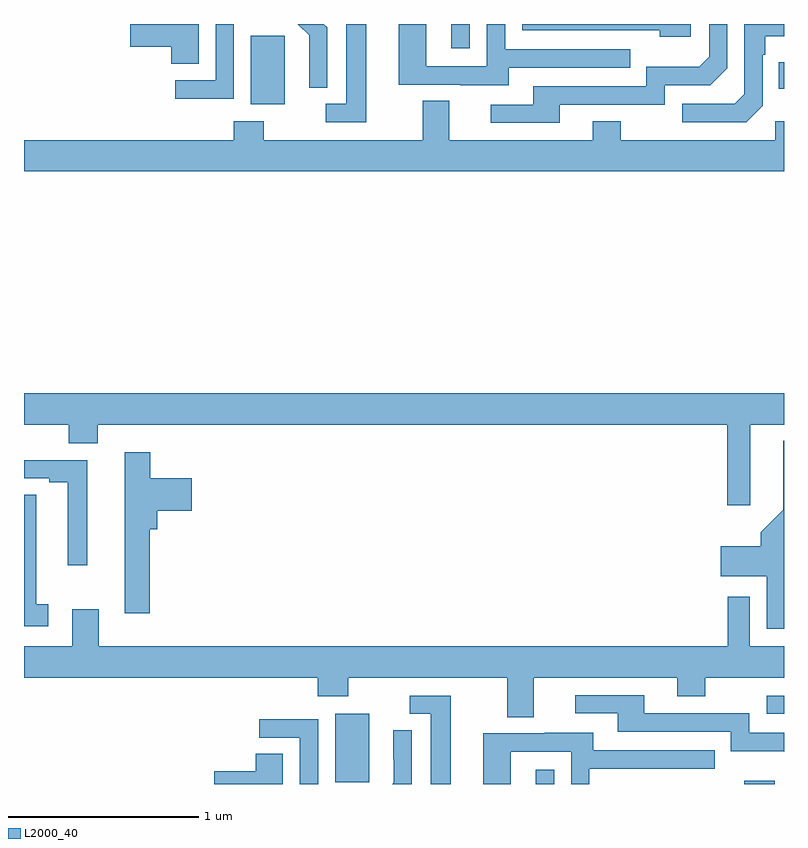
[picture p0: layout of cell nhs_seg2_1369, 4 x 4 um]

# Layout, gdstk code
import gdstk
lib = gdstk.Library(unit=1e-6, precision=1e-09)
def R(c, l, rs):  # rectangles x0, y0, x1, y1
    for r in rs: c.add(gdstk.rectangle(r[:2], r[2:], *l))
def P(c, l, *ps):  # polygons
    for p in ps: c.add(gdstk.Polygon(p, *l))
L2000_40 = (2000, 40)

nhs_seg2_1369 = lib.new_cell('nhs_seg2_1369')
R(nhs_seg2_1369, L2000_40, [(185.693,589.8,185.79,589.876), (186.791,589.8,186.952,589.816), (184.637,589.809,184.816,590.17), (186.909,590.169,187,590.265), (184.193,593.378,184.372,593.739), (186.973,593.459,187,593.599), (185.249,593.673,185.346,593.8)])
P(nhs_seg2_1369, L2000_40, [(183.919,593.8),(183.558,593.8),(183.558,593.681),(183.776,593.681),(183.776,593.59),(183.919,593.59)],
  [(185.551,593.571),(186.191,593.571),(186.191,593.667),(185.532,593.667),(185.532,593.8),(185.436,593.8),(185.436,593.577),(185.118,593.577),(185.118,593.8),(184.973,593.8),(184.973,593.481),(185.297,593.481),(185.297,593.477),(185.551,593.477)],
  [(184.104,593.8),(184.008,593.8),(184.008,593.505),(183.795,593.505),(183.795,593.407),(184.104,593.407)],
  [(184.596,593.782),(184.578,593.8),(184.442,593.8),(184.502,593.741),(184.502,593.618),(184.5,593.618),(184.5,593.464),(184.596,593.464)],
  [(186.508,593.8),(185.622,593.8),(185.622,593.766),(186.347,593.766),(186.347,593.732),(186.508,593.732)],
  [(185.821,593.376),(186.372,593.376),(186.372,593.478),(186.612,593.478),(186.702,593.568),(186.702,593.8),(186.606,593.8),(186.606,593.628),(186.553,593.575),(186.276,593.575),(186.276,593.472),(185.681,593.472),(185.681,593.376),(185.457,593.376),(185.457,593.28),(185.821,593.28)],
  [(186.888,593.37),(186.888,593.639),(186.901,593.639),(186.901,593.735),(187,593.735),(187,593.8),(186.792,593.8),(186.792,593.43),(186.741,593.379),(186.465,593.379),(186.465,593.283),(186.801,593.283)],
  [(184.801,593.8),(184.697,593.8),(184.697,593.379),(184.587,593.379),(184.587,593.283),(184.801,593.283)],
  [(187,593.287),(186.954,593.287),(186.954,593.188),(186.141,593.188),(186.141,593.287),(185.993,593.287),(185.993,593.188),(185.239,593.188),(185.239,593.396),(185.099,593.396),(185.099,593.188),(184.263,593.188),(184.263,593.287),(184.103,593.287),(184.103,593.188),(183,593.188),(183,593.024),(187,593.024)],
  [(186.823,591.692),(187,591.692),(187,591.856),(183,591.856),(183,591.692),(183.236,591.692),(183.236,591.593),(183.389,591.593),(183.389,591.692),(186.701,591.692),(186.701,591.267),(186.823,591.267)],
  [(187,591.607),(186.995,591.607),(186.995,591.346),(186.996,591.346),(186.996,591.244),(186.878,591.126),(186.878,591.052),(186.666,591.052),(186.666,590.894),(186.908,590.894),(186.908,590.618),(187,590.618)],
  [(183.662,591.14),(183.701,591.14),(183.701,591.239),(183.883,591.239),(183.883,591.409),(183.665,591.409),(183.665,591.547),(183.53,591.547),(183.53,590.7),(183.662,590.7)],
  [(183.334,591.504),(183,591.504),(183,591.408),(183.134,591.408),(183.134,591.388),(183.23,591.388),(183.23,590.952),(183.334,590.952)],
  [(183.127,590.747),(183.064,590.747),(183.064,591.323),(183,591.323),(183,590.631),(183.127,590.631)],
  [(185.683,590.36),(186.437,590.36),(186.437,590.261),(186.585,590.261),(186.585,590.36),(187,590.36),(187,590.524),(186.819,590.524),(186.819,590.785),(186.703,590.785),(186.703,590.524),(183.394,590.524),(183.394,590.719),(183.254,590.719),(183.254,590.524),(183,590.524),(183,590.36),(184.547,590.36),(184.547,590.261),(184.707,590.261),(184.707,590.36),(185.543,590.36),(185.543,590.152),(185.683,590.152)],
  [(187,590.07),(186.816,590.07),(186.816,590.172),(186.265,590.172),(186.265,590.268),(185.901,590.268),(185.901,590.172),(186.125,590.172),(186.125,590.076),(186.72,590.076),(186.72,589.973),(186.997,589.973),(187,589.97)],
  [(185.245,590.265),(185.031,590.265),(185.031,590.169),(185.141,590.169),(185.141,589.8),(185.245,589.8)],
  [(184.548,590.142),(184.239,590.142),(184.239,590.043),(184.452,590.043),(184.452,589.8),(184.548,589.8)],
  [(185.04,590.084),(184.944,590.084),(184.944,589.93),(184.946,589.93),(184.946,589.808),(184.938,589.8),(185.04,589.8)],
  [(185.562,589.971),(185.88,589.971),(185.88,589.8),(185.976,589.8),(185.976,589.881),(186.635,589.881),(186.635,589.977),(185.995,589.977),(185.995,590.071),(185.741,590.071),(185.741,590.067),(185.417,590.067),(185.417,589.8),(185.562,589.8)],
  [(184.363,589.958),(184.22,589.958),(184.22,589.868),(184.002,589.868),(184.002,589.8),(184.363,589.8)])

lib.write_gds('nhs_seg2_1369.gds')
